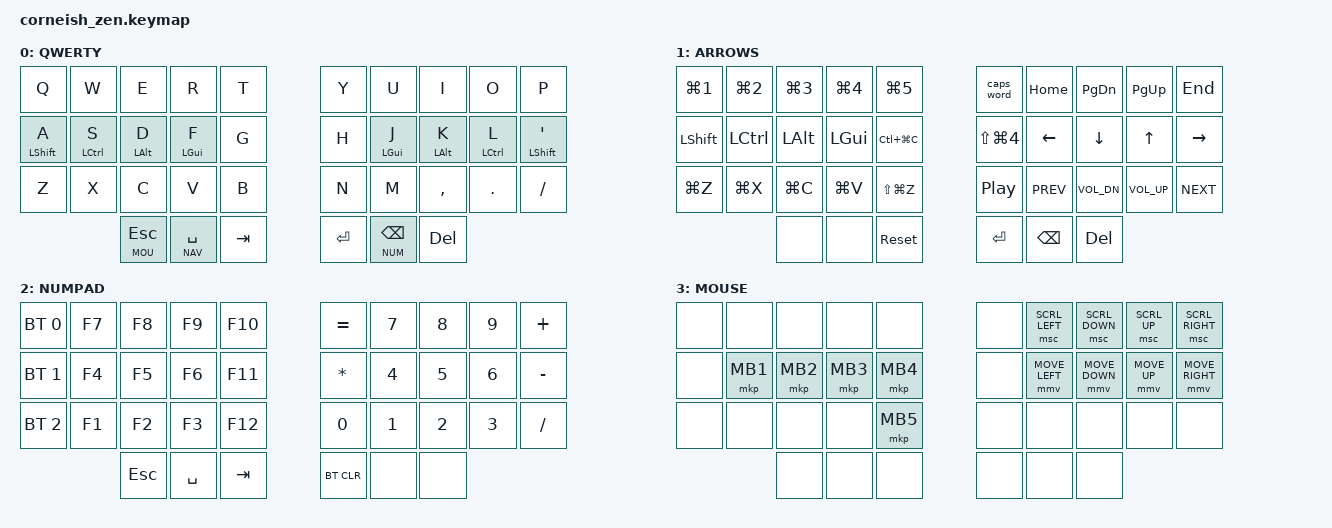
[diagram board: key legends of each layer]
#include <behaviors.dtsi>
#include <dt-bindings/zmk/keys.h>
#include <dt-bindings/zmk/bt.h>
#include <dt-bindings/zmk/pointing.h>

// LAYERS
#define QWE 0
#define NAV 1
#define NUM 2
#define MOU 3

// MACROS
#define U_UNDO  LG(Z)
#define U_CUT   LG(X)
#define U_COPY  LG(C)
#define U_PSTE  LG(V)
#define U_REDO  LS(LG(Z))
#define U_CLIP  LC(LG(C))
#define U_SHOT  LS(LG(N4))

// CONFIGURATION
#define COMBO(NAME, KEYPOS) \
  combo_##NAME { \
      timeout-ms = <40>; \
      key-positions = <KEYPOS>; \
      bindings = <&kp NAME>; \
  };

#define BT_COMBO(KEYPOS, VALUE) \
  combo_BT_##VALUE { \
      timeout-ms = <40>; \
      key-positions = <KEYPOS>; \
      bindings = <&bt BT_SEL VALUE>; \
      layers = <NUM>; \
  };

&lt {
  flavor = "tap-preferred";
  tapping-term-ms = <200>;
  quick-tap-ms = <0>;
};

&caps_word {
  continue-list = <UNDERSCORE MINUS>;
};

/ {
  chosen {
    zmk,matrix_transform = &five_column_transform;
  };
};

// KEYMAP
/ {
    behaviors {
      hm: homerow_mods {
        compatible = "zmk,behavior-hold-tap";
        label = "HOMEROW_MODS";
        #binding-cells = <2>;
        tapping-term-ms = <200>;
        quick_tap_ms = <0>;
        flavor = "tap-preferred";
        bindings = <&kp>, <&kp>;
      };
    };
    
    combos {
      compatible = "zmk,combos";
      
      // Left-hand combos
      COMBO(AT_SIGN, 1 2)
      COMBO(LEFT_BRACE, 2 3)
      COMBO(EXCLAMATION, 1 11)
      COMBO(HASH, 2 12)
      COMBO(DOLLAR, 3 13)
      COMBO(GRAVE, 10 11)
      COMBO(COLON, 11 12)
      COMBO(LEFT_PARENTHESIS, 12 13)
      COMBO(PERCENT, 11 21)
      COMBO(CARET, 12 22)
      COMBO(AMPERSAND, 13 23)
      COMBO(TILDE, 20 21)
      COMBO(SEMICOLON, 21 22)
      COMBO(LEFT_BRACKET, 22 23) 

      // Right-hand combos
      COMBO(RIGHT_BRACE, 6 7)
      COMBO(DOUBLE_QUOTES, 7 8)
      COMBO(EQUAL, 6 16)
      COMBO(PIPE, 7 17)
      COMBO(BACKSLASH, 8 18)
      COMBO(RIGHT_PARENTHESIS, 16 17)
      COMBO(MINUS, 17 18)
      COMBO(KP_PLUS, 18 19)
      COMBO(ASTERISK, 16 26)
      COMBO(LESS_THAN, 17 27)
      COMBO(GREATER_THAN, 18 28)
      COMBO(RIGHT_BRACKET, 26 27)
      COMBO(UNDERSCORE, 27 28)
      COMBO(QUESTION, 28 29)
      BT_COMBO(0 10, 3)
      BT_COMBO(10 20, 4)
    };

    keymap {
      compatible = "zmk,keymap";

      qwerty_layer {
        label = "QWERTY";
        bindings = <
          &kp Q       &kp W       &kp E       &kp R         &kp T       &kp Y   &kp U        &kp I      &kp O       &kp P
          &hm LSHFT A &hm LCTRL S &hm LALT D  &hm LGUI F    &kp G       &kp H   &hm LGUI J   &hm LALT K &hm LCTRL L &hm LSHFT SQT
          &kp Z       &kp X       &kp C       &kp V         &kp B       &kp N   &kp M        &kp COMMA  &kp DOT     &kp FSLH
                                  &lt MOU ESC &lt NAV SPACE &kp TAB     &kp RET &lt NUM BSPC &kp DEL
        >;
      };

      nav_layer {
        label = "ARROWS";
        bindings = <
          &kp LG(N1) &kp LG(N2) &kp LG(N3) &kp LG(N4) &kp LG(N5)     &caps_word &kp HOME   &kp PG_DN    &kp PG_UP    &kp END
          &kp LSHFT  &kp LCTRL  &kp LALT   &kp LGUI   &kp U_CLIP     &kp U_SHOT &kp LEFT   &kp DOWN     &kp UP       &kp RIGHT
          &kp U_UNDO &kp U_CUT  &kp U_COPY &kp U_PSTE &kp U_REDO     &kp C_PP   &kp C_PREV &kp C_VOL_DN &kp C_VOL_UP &kp C_NEXT
                                &none      &none      &sys_reset         &kp RET    &kp BSPC   &kp DEL
        >;
      };

      num_layer {
        label = "NUMPAD";
        bindings = <
          &bt BT_SEL 0 &kp F7 &kp F8  &kp F9    &kp F10     &kp EQUAL  &kp N7 &kp N8 &kp N9 &kp PLUS
          &bt BT_SEL 1 &kp F4 &kp F5  &kp F6    &kp F11     &kp ASTRK  &kp N4 &kp N5 &kp N6 &kp MINUS
          &bt BT_SEL 2 &kp F1 &kp F2  &kp F3    &kp F12     &kp N0     &kp N1 &kp N2 &kp N3 &kp FSLH
                              &kp ESC &kp SPACE &kp TAB     &bt BT_CLR &none  &none
        >;
      };

      mouse_layer {
        label = "MOUSE";
        bindings = <
          &none &none    &none    &none    &none        &none  &msc SCRL_LEFT &msc SCRL_DOWN &msc SCRL_UP &msc SCRL_RIGHT
          &none &mkp MB1 &mkp MB2 &mkp MB3 &mkp MB4     &none  &mmv MOVE_LEFT &mmv MOVE_DOWN &mmv MOVE_UP &mmv MOVE_RIGHT
          &none &none    &none    &none    &mkp MB5     &none  &none          &none          &none        &none
                         &none    &none    &none        &none  &none          &none
        >;
      };
    };
};
